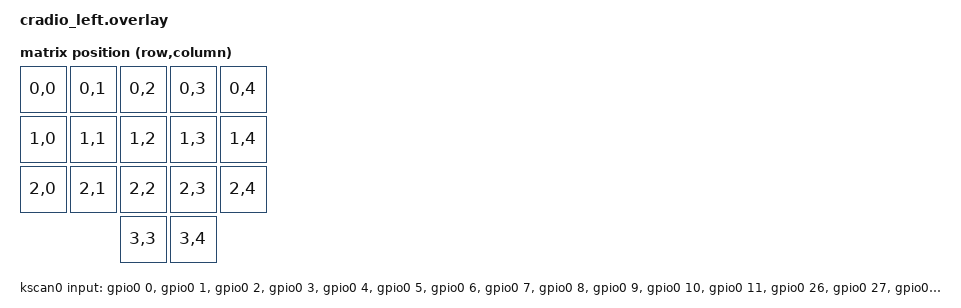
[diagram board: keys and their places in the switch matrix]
/* cradio_left.overlay */
#include <dt-bindings/zmk/matrix_transform.h>

/ {
    chosen {
        zmk,kscan = &kscan0;
        zmk,matrix-transform = &default_transform;
    };

    default_transform: matrix_transform {
        compatible = "zmk,matrix-transform";
        columns = <5>;
        rows = <4>;
        /* This map ensures your keys show up in the right spot in ZMK */
        map = <
            RC(0,0) RC(0,1) RC(0,2) RC(0,3) RC(0,4)
            RC(1,0) RC(1,1) RC(1,2) RC(1,3) RC(1,4)
            RC(2,0) RC(2,1) RC(2,2) RC(2,3) RC(2,4)
                            RC(3,3) RC(3,4)
        >;
    };

    kscan0: kscan {
        compatible = "zmk,kscan-gpio-direct";
        label = "KSCAN";
        /* These GP numbers correspond to the pins on your RP2040-Zero */
        /* SW26 (your middle finger bottom row) is GP26 */
        input-gpios
            = <&gpio0 0  (GPIO_ACTIVE_LOW | GPIO_PULL_UP)> // Top Pinky (GP0)
            , <&gpio0 1  (GPIO_ACTIVE_LOW | GPIO_PULL_UP)> // Top Ring
            , <&gpio0 2  (GPIO_ACTIVE_LOW | GPIO_PULL_UP)> // Top Middle
            , <&gpio0 3  (GPIO_ACTIVE_LOW | GPIO_PULL_UP)> // Top Index
            , <&gpio0 4  (GPIO_ACTIVE_LOW | GPIO_PULL_UP)> // Top Inner
            , <&gpio0 5  (GPIO_ACTIVE_LOW | GPIO_PULL_UP)> // Home Pinky
            , <&gpio0 6  (GPIO_ACTIVE_LOW | GPIO_PULL_UP)> // Home Ring
            , <&gpio0 7  (GPIO_ACTIVE_LOW | GPIO_PULL_UP)> // Home Middle
            , <&gpio0 8  (GPIO_ACTIVE_LOW | GPIO_PULL_UP)> // Home Index
            , <&gpio0 9  (GPIO_ACTIVE_LOW | GPIO_PULL_UP)> // Home Inner
            , <&gpio0 10 (GPIO_ACTIVE_LOW | GPIO_PULL_UP)> // Bottom Pinky
            , <&gpio0 11 (GPIO_ACTIVE_LOW | GPIO_PULL_UP)> // Bottom Ring
            , <&gpio0 26 (GPIO_ACTIVE_LOW | GPIO_PULL_UP)> // Bottom Middle (Your SW26!)
            , <&gpio0 27 (GPIO_ACTIVE_LOW | GPIO_PULL_UP)> // Bottom Index
            , <&gpio0 28 (GPIO_ACTIVE_LOW | GPIO_PULL_UP)> // Bottom Inner
            , <&gpio0 29 (GPIO_ACTIVE_LOW | GPIO_PULL_UP)> // Thumb Inner
            , <&gpio0 12 (GPIO_ACTIVE_LOW | GPIO_PULL_UP)> // Thumb Outer
            ;
    };
};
